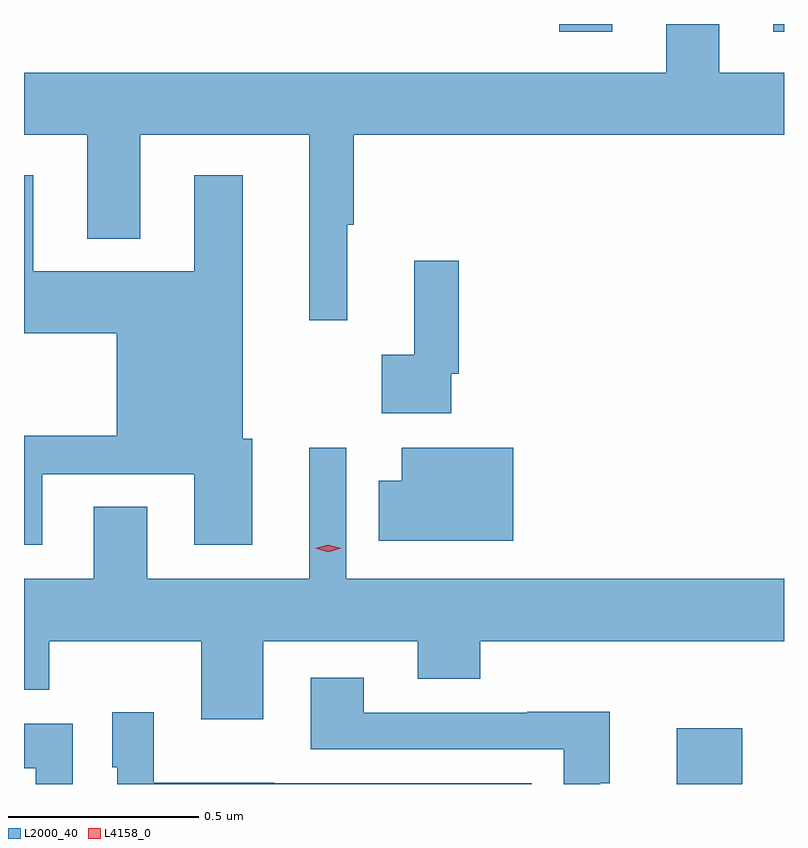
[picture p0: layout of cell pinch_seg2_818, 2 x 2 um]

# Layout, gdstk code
import gdstk
lib = gdstk.Library(unit=1e-6, precision=1e-09)
def R(c, l, rs):  # rectangles x0, y0, x1, y1
    for r in rs: c.add(gdstk.rectangle(r[:2], r[2:], *l))
def P(c, l, *ps):  # polygons
    for p in ps: c.add(gdstk.Polygon(p, *l))
L2000_40 = (2000, 40)
L4158_0 = (4158, 0)

pinch_seg2_818 = lib.new_cell('pinch_seg2_818')
R(pinch_seg2_818, L2000_40, [(660.315,613.96,660.487,614.107), (660.005,615.939,660.145,615.96), (660.569,615.939,660.597,615.96)])
P(pinch_seg2_818, L2000_40, [(659.447,615.432),(659.465,615.432),(659.465,615.668),(660.597,615.668),(660.597,615.832),(660.427,615.832),(660.427,615.96),(660.287,615.96),(660.287,615.832),(658.597,615.832),(658.597,615.668),(658.763,615.668),(658.763,615.395),(658.903,615.395),(658.903,615.668),(659.348,615.668),(659.348,615.18),(659.447,615.18)],
  [(658.645,614.775),(659.045,614.775),(659.045,614.589),(659.197,614.589),(659.197,614.868),(659.173,614.868),(659.173,615.562),(659.045,615.562),(659.045,615.31),(658.621,615.31),(658.621,615.562),(658.597,615.562),(658.597,615.146),(658.841,615.146),(658.841,614.876),(658.597,614.876),(658.597,614.589),(658.645,614.589)],
  [(659.721,615.04),(659.741,615.04),(659.741,615.337),(659.624,615.337),(659.624,615.089),(659.538,615.089),(659.538,614.936),(659.721,614.936)],
  [(659.884,614.845),(659.591,614.845),(659.591,614.758),(659.53,614.758),(659.53,614.6),(659.884,614.6)],
  [(659.227,614.336),(659.633,614.336),(659.633,614.237),(659.797,614.237),(659.797,614.336),(660.597,614.336),(660.597,614.5),(659.445,614.5),(659.445,614.845),(659.348,614.845),(659.348,614.5),(658.921,614.5),(658.921,614.69),(658.781,614.69),(658.781,614.5),(658.597,614.5),(658.597,614.208),(658.663,614.208),(658.663,614.336),(659.063,614.336),(659.063,614.13),(659.227,614.13)],
  [(660.114,613.962),(660.139,613.962),(660.139,614.15),(659.921,614.15),(659.921,614.148),(659.491,614.148),(659.491,614.239),(659.351,614.239),(659.351,614.052),(660.018,614.052),(660.018,613.96),(660.114,613.96)],
  [(659.933,613.962),(659.255,613.962),(659.255,613.963),(658.938,613.963),(658.938,614.149),(658.829,614.149),(658.829,614.004),(658.842,614.004),(658.842,613.96),(659.933,613.96)],
  [(658.725,614.118),(658.597,614.118),(658.597,614.002),(658.628,614.002),(658.628,613.96),(658.725,613.96)])
P(pinch_seg2_818, L4158_0, [(659.398,614.57),(659.363,614.58),(659.362,614.58),(659.363,614.58),(659.398,614.59),(659.432,614.58),(659.432,614.58),(659.432,614.58)])

lib.write_gds('pinch_seg2_818.gds')
